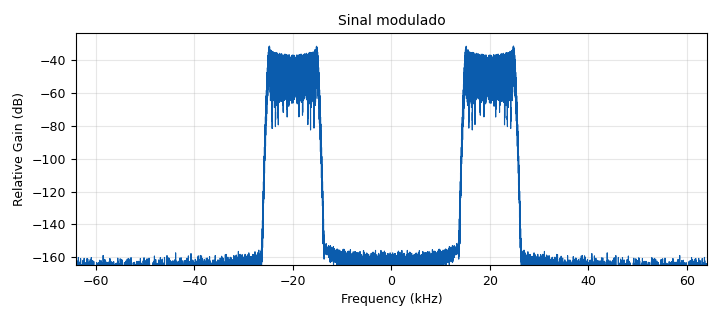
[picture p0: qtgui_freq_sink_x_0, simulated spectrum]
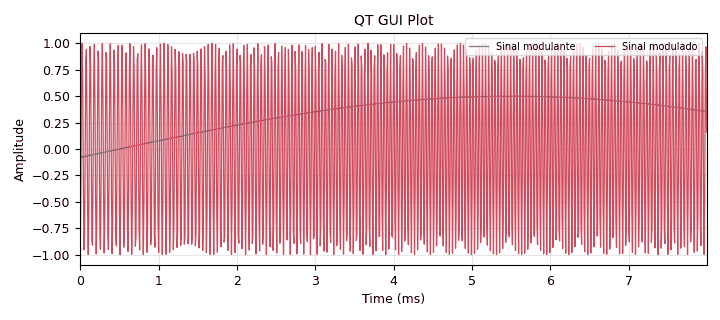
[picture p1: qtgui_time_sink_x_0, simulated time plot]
<?xml version='1.0' encoding='utf-8'?>
<?grc format='1' created='3.7.13'?>
<flow_graph>
<block>
<key>options</key>
<param><key>id</key><value>Labo4_2</value></param>
<param><key>category</key><value>Custom</value></param>
<param><key>generate_options</key><value>qt_gui</value></param>
<param><key>title</key><value>FM de Faixa Larga</value></param>
</block>
<block>
<key>variable_qtgui_range</key>
<param><key>id</key><value>A</value></param>
<param><key>value</key><value>0.5</value></param>
<param><key>gui_hint</key><value>0,0,1,1</value></param>
<param><key>label</key><value>Amplitude do sinal modulante</value></param>
<param><key>orient</key><value>Qt.Horizontal</value></param>
<param><key>start</key><value>0</value></param>
<param><key>step</key><value>0.1</value></param>
<param><key>stop</key><value>1</value></param>
</block>
<block>
<key>variable_qtgui_range</key>
<param><key>id</key><value>F</value></param>
<param><key>value</key><value>50</value></param>
<param><key>gui_hint</key><value>0,1,1,1</value></param>
<param><key>label</key><value>Frequencia do sinal modulante</value></param>
<param><key>orient</key><value>Qt.Horizontal</value></param>
<param><key>start</key><value>0</value></param>
<param><key>step</key><value>50</value></param>
<param><key>stop</key><value>1000</value></param>
</block>
<block>
<key>variable_qtgui_range</key>
<param><key>id</key><value>Fp</value></param>
<param><key>value</key><value>20000</value></param>
<param><key>gui_hint</key><value>0,2,1,1</value></param>
<param><key>label</key><value>Frequencia da portadora</value></param>
<param><key>orient</key><value>Qt.Horizontal</value></param>
<param><key>start</key><value>10000</value></param>
<param><key>step</key><value>500</value></param>
<param><key>stop</key><value>30000</value></param>
</block>
<block>
<key>variable</key>
<param><key>id</key><value>samp_rate</value></param>
<param><key>value</key><value>4*32000</value></param>
</block>
<block>
<key>analog_sig_source_x</key>
<param><key>id</key><value>analog_sig_source_x_0</value></param>
<param><key>amp</key><value>A</value></param>
<param><key>freq</key><value>F</value></param>
<param><key>offset</key><value>0</value></param>
<param><key>type</key><value>float</value></param>
<param><key>samp_rate</key><value>samp_rate</value></param>
<param><key>waveform</key><value>analog.GR_COS_WAVE</value></param>
</block>
<block>
<key>blocks_add_const_vxx</key>
<param><key>id</key><value>blocks_add_const_vxx_0</value></param>
<param><key>const</key><value>Fp/10000.0</value></param>
<param><key>type</key><value>float</value></param>
</block>
<block>
<key>blocks_throttle</key>
<param><key>id</key><value>blocks_throttle_0</value></param>
<param><key>samples_per_second</key><value>samp_rate</value></param>
<param><key>type</key><value>float</value></param>
</block>
<block>
<key>blocks_vco_f</key>
<param><key>id</key><value>blocks_vco_f_0</value></param>
<param><key>amplitude</key><value>1</value></param>
<param><key>samp_rate</key><value>samp_rate</value></param>
<param><key>sensitivity</key><value>6.28*10**4</value></param>
</block>
<block>
<key>qtgui_freq_sink_x</key>
<param><key>id</key><value>qtgui_freq_sink_x_0</value></param>
<param><key>autoscale</key><value>True</value></param>
<param><key>bw</key><value>samp_rate</value></param>
<param><key>fc</key><value>0</value></param>
<param><key>fftsize</key><value>1024*13</value></param>
<param><key>grid</key><value>True</value></param>
<param><key>name</key><value>Sinal modulado</value></param>
<param><key>showports</key><value>True</value></param>
<param><key>type</key><value>float</value></param>
<param><key>wintype</key><value>firdes.WIN_BLACKMAN_hARRIS</value></param>
</block>
<block>
<key>qtgui_time_sink_x</key>
<param><key>id</key><value>qtgui_time_sink_x_0</value></param>
<param><key>autoscale</key><value>True</value></param>
<param><key>grid</key><value>True</value></param>
<param><key>color1</key><value>"blue"</value></param>
<param><key>label1</key><value>Sinal modulante</value></param>
<param><key>color2</key><value>"red"</value></param>
<param><key>label2</key><value>Sinal modulado</value></param>
<param><key>name</key><value>QT GUI Plot</value></param>
<param><key>nconnections</key><value>2</value></param>
<param><key>size</key><value>1024</value></param>
<param><key>srate</key><value>samp_rate</value></param>
<param><key>type</key><value>float</value></param>
<param><key>yunit</key><value>V</value></param>
</block>
<connection><source_block_id>analog_sig_source_x_0</source_block_id><sink_block_id>blocks_throttle_0</sink_block_id><source_key>0</source_key><sink_key>0</sink_key></connection>
<connection><source_block_id>blocks_add_const_vxx_0</source_block_id><sink_block_id>blocks_vco_f_0</sink_block_id><source_key>0</source_key><sink_key>0</sink_key></connection>
<connection><source_block_id>blocks_throttle_0</source_block_id><sink_block_id>blocks_add_const_vxx_0</sink_block_id><source_key>0</source_key><sink_key>0</sink_key></connection>
<connection><source_block_id>blocks_throttle_0</source_block_id><sink_block_id>qtgui_time_sink_x_0</sink_block_id><source_key>0</source_key><sink_key>0</sink_key></connection>
<connection><source_block_id>blocks_vco_f_0</source_block_id><sink_block_id>qtgui_freq_sink_x_0</sink_block_id><source_key>0</source_key><sink_key>0</sink_key></connection>
<connection><source_block_id>blocks_vco_f_0</source_block_id><sink_block_id>qtgui_time_sink_x_0</sink_block_id><source_key>0</source_key><sink_key>1</sink_key></connection>
</flow_graph>
